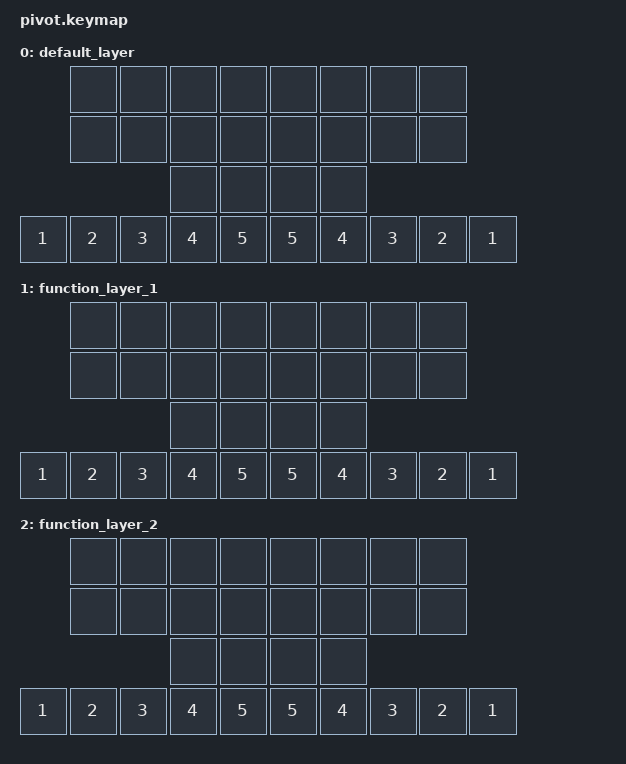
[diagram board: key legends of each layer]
/*
 * Copyright (c) 2020 The ZMK Contributors
 *
 * SPDX-License-Identifier: MIT
 */

#include <behaviors.dtsi>
#include <dt-bindings/zmk/bt.h>
#include <dt-bindings/zmk/keys.h>
#include <dt-bindings/zmk/outputs.h>

// CONFIG
#define COMBO_TIMEOUT 70
#define BASE_COMBO_LAYERS 0
#define FUNC_COMBO_LAYER_1 1
#define FUNC_COMBO_LAYER_2 2
#define STICKY_TIMEOUT 500

// LEFT SIDE
#define TLI 3 // TOP
#define TLM 2 // TOP
#define TLR 1 // TOP
#define TLP 0 // TOP
#define BLI 11 // BOTTOM
#define BLM 10 // BOTTOM
#define BLR 9 // BOTTOM
#define BLP 8 // BOTTOM
#define LOT 17 // O-THUMB
#define LIT 16 // I-THUMB

// RIGHT SIDE
#define TRI 4 // TOP
#define TRM 5 // TOP
#define TRR 6 // TOP
#define TRP 7 // TOP
#define BRI 12 // BOTTOM
#define BRM 13 // BOTTOM
#define BRR 14 // BOTTOM
#define BRP 15 // BOTTOM
#define ROT 18 // O-THUMB
#define RIT 19 // I-THUMB

&sk {
    release-after-ms = <STICKY_TIMEOUT>;
    quick-release;
};

/ {
  combos {
    compatible = "zmk,combos";
    #include "taipo.dtsi"
  };

  keymap {
    compatible = "zmk,keymap";

    default_layer {
      bindings = <
               &none  &none  &none  &none  &none  &none  &none  &none
               &none  &none  &none  &none  &none  &none  &none  &none
                             &none  &none  &none  &none
        &kp N1 &kp N2 &kp N3 &kp N4 &kp N5 &kp N5 &kp N4 &kp N3 &kp N2 &kp N1
        /*  LD     LB     LF     LU     LI     RI     RU     RF     RB     RD */
      >;
    };

    function_layer_1 {
      bindings = <
               &none  &none  &none  &none  &none  &none  &none  &none
               &none  &none  &none  &none  &none  &none  &none  &none
                             &none  &none  &none  &none
        &kp N1 &kp N2 &kp N3 &kp N4 &kp N5 &kp N5 &kp N4 &kp N3 &kp N2 &kp N1
        /*  LD     LB     LF     LU     LI     RI     RU     RF     RB     RD */
      >;
    };

    function_layer_2 {
      bindings = <
               &none  &none  &none  &none  &none  &none  &none  &none
               &none  &none  &none  &none  &none  &none  &none  &none
                             &none  &none  &none  &none
        &kp N1 &kp N2 &kp N3 &kp N4 &kp N5 &kp N5 &kp N4 &kp N3 &kp N2 &kp N1
        /*  LD     LB     LF     LU     LI     RI     RU     RF     RB     RD */
      >;
    };
  };
};
